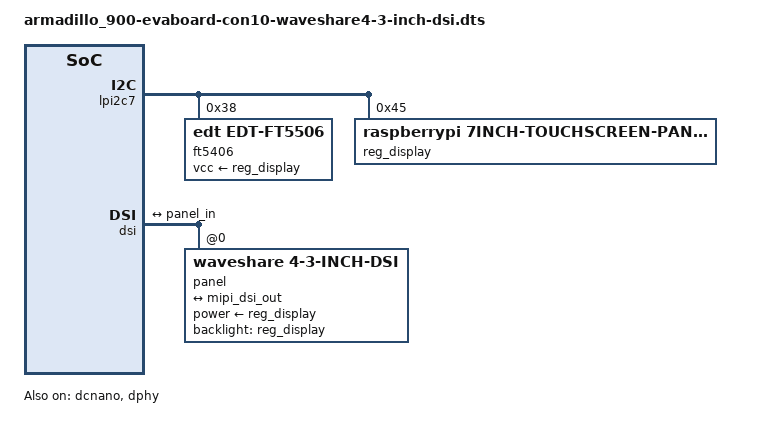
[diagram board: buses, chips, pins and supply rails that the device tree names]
// SPDX-License-Identifier: (GPL-2.0 OR MIT)
/*
 * Copyright (C) 2025 Atmark Techno, Inc. All Rights Reserved.
 *
 */

/dts-v1/;
/plugin/;

#include <dt-bindings/gpio/gpio.h>
#include <dt-bindings/input/input.h>
#include <dt-bindings/interrupt-controller/irq.h>
#include <dt-bindings/leds/common.h>

#include "imx8ulp-pinfunc.h"
#include "imx8ulp-pinfunc-m33.h"

&lpi2c7 {
	#address-cells = <1>;
	#size-cells = <0>;

	// touch
	ft5406: ts@38 {
		compatible = "edt,edt-ft5506";
		reg = <0x38>;
		vcc-supply = <&reg_display>;
		//reset-gpio = <>;

		touchscreen-size-x = <800>;
		touchscreen-size-y = <480>;
		touchscreen-inverted-x;
		touchscreen-inverted-y;
	};

	// power
	reg_display: reg_display@45 {
		compatible = "raspberrypi,7inch-touchscreen-panel-regulator";
		reg = <0x45>;
		gpio-controller;
		#gpio-cells = <2>;
	};
};

// display interface
&dcnano {
	status = "okay";
};

&dphy {
	status = "okay";
};

&dsi {
	#address-cells = <1>;
	#size-cells = <0>;

	status = "okay";
	panel@0 {
		compatible = "waveshare,4-3-inch-dsi", "panel-dsi";
		reg = <0>;
		power-supply = <&reg_display>;
		backlight = <&reg_display>;
		dsi-color-format = "RGB888";
		mode = "MODE_VIDEO";

		// 43H-800480-IPS-CT WAVESHARE-24160
		width-mm = <95>;  // 95.04 mm
		height-mm = <54>; // 53.86 mm

		port {
			panel_in: endpoint {
				data-lanes = <1>;
				remote-endpoint = <&mipi_dsi_out>;
			};
		};

		timing: panel-timing {
			clock-frequency = <33000000>;
			hactive = <800>;
			vactive = <480>;
			hfront-porch = <59>;
			hsync-len = <2>;
			hback-porch = <45>;
			vfront-porch = <7>;
			vsync-len = <2>;
			vback-porch = <22>;
		};
	};

	ports {
		port@1 {
			reg = <1>;

			mipi_dsi_out: endpoint {
				remote-endpoint = <&panel_in>;
			};
		};
	};
};
